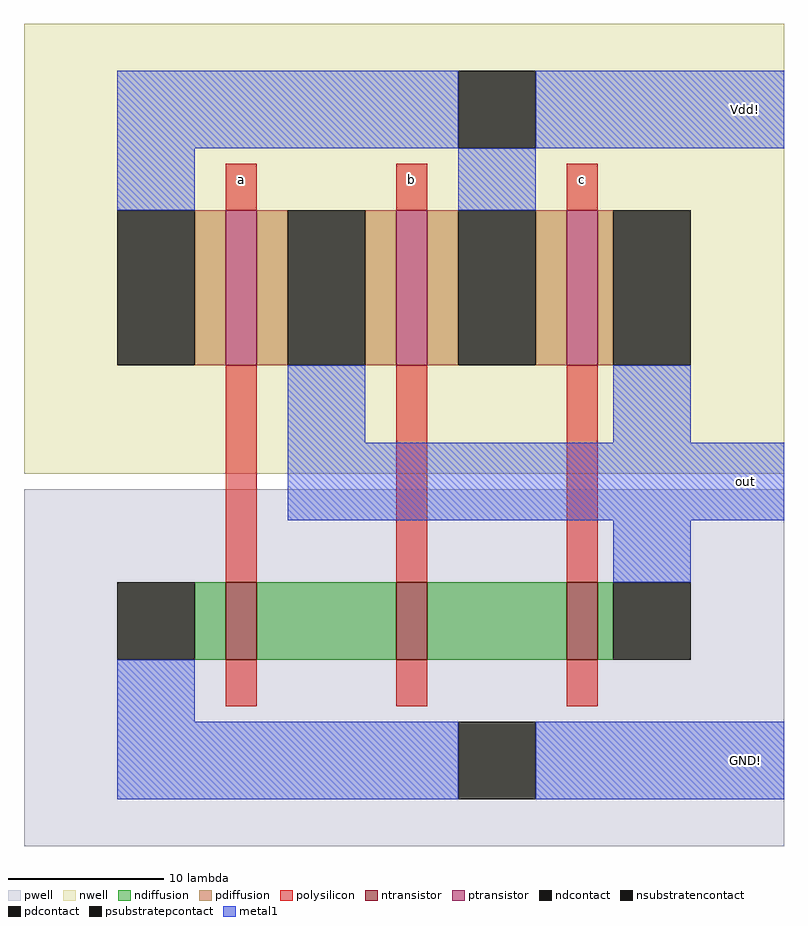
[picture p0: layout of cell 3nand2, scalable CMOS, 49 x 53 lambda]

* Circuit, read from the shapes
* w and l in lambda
.subckt 3nand2 GND! Vdd! a b c out
M1 n1 a GND! GND! nfet w=5 l=2
M2 n2 b n1 GND! nfet w=5 l=2
M3 out c n2 GND! nfet w=5 l=2
M4 out a Vdd! Vdd! pfet w=10 l=2
M5 Vdd! b out Vdd! pfet w=10 l=2
M6 out c Vdd! Vdd! pfet w=10 l=2
.ends

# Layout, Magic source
magic
tech scmos
<< nwell >>
rect -9 -47 40 -18
<< pwell >>
rect -9 -71 40 -48
<< ntransistor >>
rect 4 -59 6 -54
rect 15 -59 17 -54
rect 26 -59 28 -54
<< ptransistor >>
rect 4 -40 6 -30
rect 15 -40 17 -30
rect 26 -40 28 -30
<< ndiffusion >>
rect 2 -59 4 -54
rect 6 -59 15 -54
rect 17 -59 26 -54
rect 28 -59 29 -54
<< pdiffusion >>
rect 2 -40 4 -30
rect 6 -40 8 -30
rect 13 -40 15 -30
rect 17 -40 19 -30
rect 24 -40 26 -30
rect 28 -40 29 -30
<< ndcontact >>
rect -3 -59 2 -54
rect 29 -59 34 -54
<< pdcontact >>
rect -3 -40 2 -30
rect 8 -40 13 -30
rect 19 -40 24 -30
rect 29 -40 34 -30
<< psubstratepcontact >>
rect 19 -68 24 -63
<< nsubstratencontact >>
rect 19 -26 24 -21
<< polysilicon >>
rect 4 -30 6 -27
rect 15 -30 17 -27
rect 26 -30 28 -27
rect 4 -54 6 -40
rect 15 -54 17 -40
rect 26 -54 28 -40
rect 4 -62 6 -59
rect 15 -62 17 -59
rect 26 -62 28 -59
<< metal1 >>
rect -3 -26 19 -21
rect 24 -26 40 -21
rect -3 -30 2 -26
rect 19 -30 24 -26
rect 8 -45 13 -40
rect 29 -45 34 -40
rect 8 -50 40 -45
rect 29 -54 34 -50
rect -3 -63 2 -59
rect -3 -68 19 -63
rect 24 -68 40 -63
<< labels >>
rlabel polysilicon 4 -29 6 -27 1 a
rlabel metal1 35 -68 40 -63 7 GND!
rlabel metal1 35 -26 40 -21 7 Vdd!
rlabel metal1 35 -50 40 -45 7 out
rlabel polysilicon 26 -29 28 -27 1 c
rlabel polysilicon 15 -29 17 -27 1 b
<< end >>
